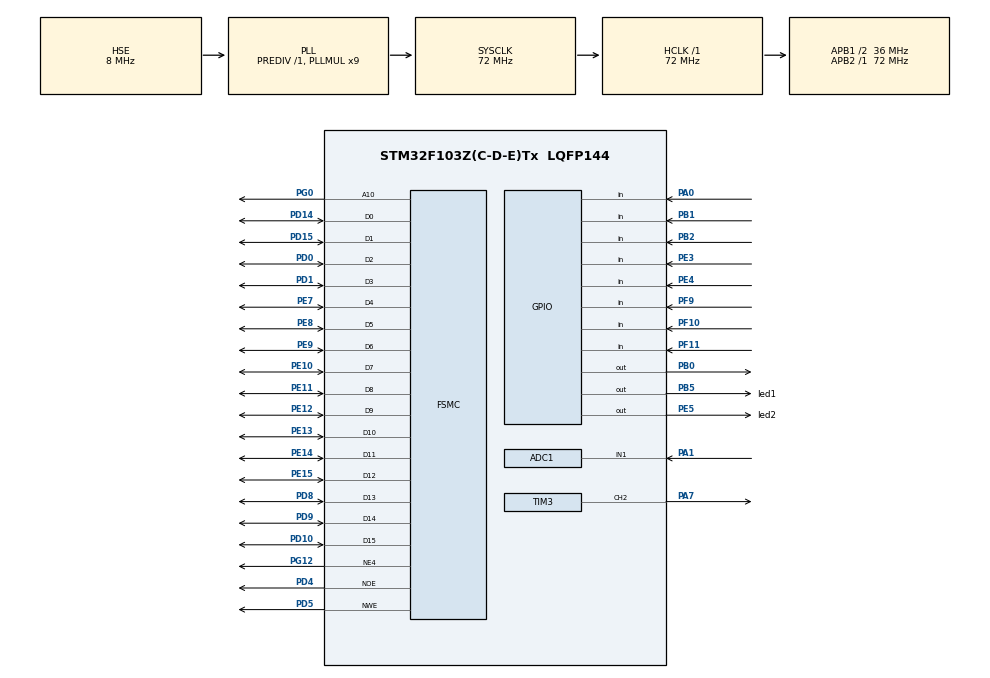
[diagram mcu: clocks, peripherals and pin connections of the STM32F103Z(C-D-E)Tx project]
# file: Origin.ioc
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ADC1.Channel-0\#ChannelRegularConversion=ADC_CHANNEL_1
ADC1.NbrOfConversion=1
ADC1.NbrOfConversionFlag=1
ADC1.Rank-0\#ChannelRegularConversion=1
ADC1.SamplingTime-0\#ChannelRegularConversion=ADC_SAMPLETIME_1CYCLE_5
ADC1.master=1
FSMC.AddressSetupTime1=6
FSMC.BusTurnAroundDuration1=0
FSMC.DataSetupTime1=26
FSMC.ExtendedAddressSetupTime1=3
FSMC.ExtendedBusTurnAroundDuration1=0
FSMC.ExtendedDataSetupTime1=6
FSMC.ExtendedMode1=FSMC_EXTENDED_MODE_ENABLE
Mcu.Family=STM32F1
Mcu.Name=STM32F103Z(C-D-E)Tx
Mcu.Package=LQFP144
NVIC.PriorityGroup=NVIC_PRIORITYGROUP_3
OSC_IN.Mode=HSE-External-Oscillator
OSC_IN.Signal=RCC_OSC_IN
OSC_OUT.Mode=HSE-External-Oscillator
OSC_OUT.Signal=RCC_OSC_OUT
PA0-WKUP.GPIO_PuPd=GPIO_PULLDOWN
PA0-WKUP.Signal=GPIO_Input
PA1.Signal=ADCx_IN1
PA13.Mode=Serial_Wire
PA13.Signal=SYS_JTMS-SWDIO
PA14.Mode=Serial_Wire
PA14.Signal=SYS_JTCK-SWCLK
PA7.Signal=S_TIM3_CH2
PB0.GPIO_PuPd=GPIO_PULLUP
PB0.GPIO_Speed=GPIO_SPEED_FREQ_HIGH
PB0.PinState=GPIO_PIN_SET
PB0.Signal=GPIO_Output
PB1.GPIO_PuPd=GPIO_NOPULL
PB1.Signal=GPIO_Input
PB2.Signal=GPIO_Input
PB5.GPIO_Label=led1
PB5.GPIO_ModeDefaultOutputPP=GPIO_MODE_OUTPUT_PP
PB5.GPIO_PuPd=GPIO_PULLDOWN
PB5.GPIO_Speed=GPIO_SPEED_FREQ_HIGH
PB5.PinState=GPIO_PIN_RESET
PB5.Signal=GPIO_Output
PD0.Signal=FSMC_D2_DA2
PD1.Signal=FSMC_D3_DA3
PD10.Signal=FSMC_D15_DA15
PD14.Signal=FSMC_D0_DA0
PD15.Signal=FSMC_D1_DA1
PD4.Signal=FSMC_NOE
PD5.Signal=FSMC_NWE
PD8.Signal=FSMC_D13_DA13
PD9.Signal=FSMC_D14_DA14
PE10.Signal=FSMC_D7_DA7
PE11.Signal=FSMC_D8_DA8
PE12.Signal=FSMC_D9_DA9
PE13.Signal=FSMC_D10_DA10
PE14.Signal=FSMC_D11_DA11
PE15.Signal=FSMC_D12_DA12
PE3.GPIO_Mode=GPIO_MODE_INPUT
PE3.GPIO_PuPd=GPIO_PULLUP
PE3.Signal=GPIO_Input
PE4.GPIO_PuPd=GPIO_PULLUP
PE4.Signal=GPIO_Input
PE5.GPIO_Label=led2
PE5.GPIO_PuPd=GPIO_PULLDOWN
PE5.GPIO_Speed=GPIO_SPEED_FREQ_HIGH
PE5.PinState=GPIO_PIN_RESET
PE5.Signal=GPIO_Output
PE7.Signal=FSMC_D4_DA4
PE8.Signal=FSMC_D5_DA5
PE9.Signal=FSMC_D6_DA6
PF10.Signal=GPIO_Input
PF11.Signal=GPIO_Input
PF9.Signal=GPIO_Input
PG0.Signal=FSMC_A10
PG12.Mode=NorPsramChipSelect4_1
PG12.Signal=FSMC_NE4
ProjectManager.HeapSize=0x200
ProjectManager.StackSize=0x400
ProjectManager.TargetToolchain=STM32CubeIDE
RCC.ADCPresc=RCC_ADCPCLK2_DIV6
RCC.AHBFreq_Value=72000000
RCC.APB1CLKDivider=RCC_HCLK_DIV2
RCC.APB1Freq_Value=36000000
RCC.APB1TimFreq_Value=72000000
RCC.APB2Freq_Value=72000000
RCC.APB2TimFreq_Value=72000000
RCC.HCLKFreq_Value=72000000
RCC.PLLMUL=RCC_PLL_MUL9
RCC.PLLSourceVirtual=RCC_PLLSOURCE_HSE
RCC.SYSCLKFreq_VALUE=72000000
RCC.SYSCLKSource=RCC_SYSCLKSOURCE_PLLCLK
RCC.USBFreq_Value=72000000
SH.ADCx_IN1.0=ADC1_IN1,IN1
SH.FSMC_A10.0=FSMC_A10,A10_1
SH.FSMC_D0_DA0.0=FSMC_D0,16b-d1
SH.FSMC_D10_DA10.0=FSMC_D10,16b-d1
SH.FSMC_D11_DA11.0=FSMC_D11,16b-d1
SH.FSMC_D12_DA12.0=FSMC_D12,16b-d1
SH.FSMC_D13_DA13.0=FSMC_D13,16b-d1
SH.FSMC_D14_DA14.0=FSMC_D14,16b-d1
SH.FSMC_D15_DA15.0=FSMC_D15,16b-d1
SH.FSMC_D1_DA1.0=FSMC_D1,16b-d1
SH.FSMC_D2_DA2.0=FSMC_D2,16b-d1
SH.FSMC_D3_DA3.0=FSMC_D3,16b-d1
SH.FSMC_D4_DA4.0=FSMC_D4,16b-d1
SH.FSMC_D5_DA5.0=FSMC_D5,16b-d1
SH.FSMC_D6_DA6.0=FSMC_D6,16b-d1
SH.FSMC_D7_DA7.0=FSMC_D7,16b-d1
SH.FSMC_D8_DA8.0=FSMC_D8,16b-d1
SH.FSMC_D9_DA9.0=FSMC_D9,16b-d1
SH.FSMC_NOE.0=FSMC_NOE,Lcd1
SH.FSMC_NWE.0=FSMC_NWE,Lcd1
SH.S_TIM3_CH2.0=TIM3_CH2,PWM Generation2 CH2
TIM3.Channel-PWM\ Generation2\ CH2=TIM_CHANNEL_2
TIM3.Period=1000-1
TIM3.Prescaler=72-1
VP_TIM3_VS_ClockSourceINT.Mode=Internal
board=custom

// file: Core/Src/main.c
/* USER CODE BEGIN Header */
/**
  ******************************************************************************
  * @file           : main.c
  * @brief          : Main program body
  ******************************************************************************
  * @attention
  *
  * <h2><center>&copy; Copyright (c) 2020 STMicroelectronics.
  * All rights reserved.</center></h2>
  *
  * This software component is licensed by ST under BSD 3-Clause license,
  * the "License"; You may not use this file except in compliance with the
  * License. You may obtain a copy of the License at:
  *                        opensource.org/licenses/BSD-3-Clause
  *
  ******************************************************************************
  */
/* USER CODE END Header */
#include "main.h"

/* USER CODE BEGIN Includes */

//#include "sys.h"
//#include "delay.h"
#include "lcd.h"
#include "adc.h"
#include "string.h"

/* USER CODE END Includes */

ADC_HandleTypeDef hadc1;

TIM_HandleTypeDef htim3;

SRAM_HandleTypeDef hsram1;

void SystemClock_Config(void);
static void MX_GPIO_Init(void);
static void MX_TIM3_Init(void);
static void MX_FSMC_Init(void);
static void MX_ADC1_Init(void);

/* USER CODE BEGIN 0 */
uint8_t KEY_Scan(uint8_t mode);

/* USER CODE END 0 */

int main(void)
{

  /* MCU Configuration--------------------------------------------------------*/

  /* Reset of all peripherals, Initializes the Flash interface and the Systick. */
  HAL_Init();

  /* Configure the system clock */
  SystemClock_Config();

  /* Initialize all configured peripherals */
  MX_GPIO_Init();
  MX_TIM3_Init();
  MX_FSMC_Init();
  MX_ADC1_Init();
  /* USER CODE BEGIN 2 */

  HAL_Delay(1);

	LCD_Init();
	POINT_COLOR=RED;

  HAL_TIM_PWM_Start(&htim3,TIM_CHANNEL_2);
  uint16_t dutyCycle=500;
  uint16_t pwmmax=900;
  uint16_t pwmmin=100;
  __HAL_TIM_SET_COMPARE(&htim3,TIM_CHANNEL_2,dutyCycle);

  uint16_t prs=72-1;
  uint16_t freq=50;
  uint16_t freqmax=100;
  uint16_t freqmin=1;

	u16 adcx;
	float temp;

	  //参数�?????????????
	  u8 key0p[5];
	  u8 key0f[5];
	  u8 fir=0;
	 //选项参数
	  u8 p=1;
	  u8 f=0;
	  HAL_GPIO_WritePin(led1_GPIO_Port, led1_Pin, GPIO_PIN_SET);
	  HAL_GPIO_WritePin(led2_GPIO_Port, led2_Pin, GPIO_PIN_SET);
  /* USER CODE END 2 */
	  POINT_COLOR=BLACK;
	  	LCD_ShowString(30,350,50,32,32,"Vol:");
	  	LCD_ShowString(160,350,200,32,32,"mV");

  /* Infinite loop */
  while (1)
  {
	 	  if (fir==0){
	 	  	  	itoa(dutyCycle/10, key0p, 10);
	 	  	  	strcat(key0p,"%");
	 	  	  	itoa(freq, key0f, 10);
	 	  	  	strcat(key0f,"KMz ");
	 	  	 	POINT_COLOR=RED;
	 	  	 	LCD_ShowString(30,140,200,32,32,"PWM");
	 	  	 	POINT_COLOR=BLACK;
	 	  	 	LCD_ShowString(100,140,200,32,32,"FREQ");

	 	  	  	POINT_COLOR=BLACK;
	 	  		LCD_ShowString(30,40,210,24,24,"Present By ZXD");
	 	   		LCD_ShowString(30,100,260,24,24,"Press key_up to switch");
	 	   		LCD_ShowString(200,270,200,32,32,key0p);
	 	   		LCD_ShowString(30,270,200,32,32,"DutyCycle:");
	 	   		LCD_ShowString(150,310,200,32,32,key0f);
	 	   		LCD_ShowString(30,310,200,32,32,"Freq:");
	 	   		fir=1;
	 	  }

	 	   		//按键扫描
	 	  switch(KEY_Scan(1)){

	 	  case 1:

	 	  	  break;
	 	  case 2:

	 	  	  break;
	 	  case 3:
	 	  	HAL_Delay(100);
	 	  	if (f==1){
	 	  		  p=1;
	 	  		  f=0;
	 	  		 	POINT_COLOR=RED;
	 	  		 	LCD_ShowString(30,140,200,32,32,"PWM");
	 	  		  	POINT_COLOR=BLACK;
	 	  		 	LCD_ShowString(100,140,200,32,32,"FREQ");
	 	  	  }
	 	  	  else if(p==1)
	 	  	  {
	 	  		  p=0;
	 	  		  f=1;
	 	  	   		POINT_COLOR=BLACK;
	 	  	   		LCD_ShowString(30,140,200,32,32,"PWM");
	 	  	   		POINT_COLOR=RED;
	 	  	   		LCD_ShowString(100,140,200,32,32,"FREQ");
	 	  	   		POINT_COLOR=BLACK;
	 	  	  }
	 	  	  break;
	 	  case 0:
	 	  	  break;
	 	  }

	 	  //控制状态灯
	 	  /*if(PWM_freq==0){HAL_GPIO_WritePin(led1_GPIO_Port, led1_Pin, GPIO_PIN_RESET);}
	 	  else HAL_GPIO_WritePin(led1_GPIO_Port, led1_Pin, GPIO_PIN_SET);
	 	  if(up_down==0){HAL_GPIO_WritePin(led2_GPIO_Port, led2_Pin, GPIO_PIN_RESET);}
	 	  else HAL_GPIO_WritePin(led2_GPIO_Port, led2_Pin, GPIO_PIN_SET);*/

	 	  //控制pwm和freq/vol
	 	  if(p==1&&(KEY_Scan(1)==2||KEY_Scan(1)==1))
	 	  {

	 	  	if(KEY_Scan(1)==2)
	 	  	  {
	 	  		dutyCycle+=50;
	 	  	  }
	 	  	else if(KEY_Scan(1)==1)
	 	  	{
	 	  		dutyCycle+=100;
	 	  	}
	 	  	else{

	 	  	}
	 	  	if(dutyCycle>pwmmax){dutyCycle=100;}
	 	  	else if(dutyCycle<pwmmin){dutyCycle=900;}
	 	  	else{}
	 	  	 __HAL_TIM_SET_COMPARE(&htim3,TIM_CHANNEL_2,dutyCycle);
	 	  	  	itoa(dutyCycle/10, key0p, 10);
	 	  	  	strcat(key0p,"%");
	 	  	LCD_ShowString(200,270,200,32,32,key0p);
	 	  	LCD_ShowString(30,270,200,32,32,"DutyCycle:");

	 	  }

	 	  else if (f==1&&(KEY_Scan(1)==2||KEY_Scan(1)==1))
	 	  {
	 	  	  if(KEY_Scan(1)==1)
	 	  {
	 	  		  freq=freq+10;
	 	  }
	 	  	  else if(KEY_Scan(1)==2)
	 	  	  {
	 	  		  freq=freq+1;
	 	  	  }
	 	  	  else{}
	 	  		if(freq>freqmax){freq=freq-100;}
	 	  		else if(freq<freqmin){freq=1;}
	 	  		else{}
	 	  	  prs=72000000/(1000*freq*1000);
	 	  	 __HAL_TIM_SET_PRESCALER(&htim3,prs);
	 	  	  	itoa(freq, key0f, 10);
	 	  	  	strcat(key0f,"KMz  ");
	 	  	LCD_ShowString(150,310,200,32,32,key0f);
	 	  	LCD_ShowString(30,310,200,32,32,"Freq:");
	 	  }

	 	  else
	 	  {
	 	 	  	HAL_ADC_Start(&hadc1);
	 	 	  	HAL_ADC_PollForConversion(&hadc1, 10);
	 	 	  	adcx = HAL_ADC_GetValue(&hadc1);
	 	 	  	temp=(float)adcx*(3.3/4096);			//得到ADC电压值
	 	 	  	adcx=temp;
	 	 	  	LCD_ShowxNum(94,350,temp,1,32,0);     	//显示电压值整数部分
	 	 	  	temp-=adcx;
	 	 	  	temp*=1000;
	 	 	  	LCD_ShowxNum(110,350,temp,3,32,0x80); 	//显示电压值的小数部分
	 	 	  	HAL_Delay(20);
	 	  }

  }
  /* USER CODE END 3 */
}

void SystemClock_Config(void)
{
  RCC_OscInitTypeDef RCC_OscInitStruct = {0};
  RCC_ClkInitTypeDef RCC_ClkInitStruct = {0};
  RCC_PeriphCLKInitTypeDef PeriphClkInit = {0};

  /** Initializes the RCC Oscillators according to the specified parameters
  * in the RCC_OscInitTypeDef structure.
  */
  RCC_OscInitStruct.OscillatorType = RCC_OSCILLATORTYPE_HSE;
  RCC_OscInitStruct.HSEState = RCC_HSE_ON;
  RCC_OscInitStruct.HSEPredivValue = RCC_HSE_PREDIV_DIV1;
  RCC_OscInitStruct.HSIState = RCC_HSI_ON;
  RCC_OscInitStruct.PLL.PLLState = RCC_PLL_ON;
  RCC_OscInitStruct.PLL.PLLSource = RCC_PLLSOURCE_HSE;
  RCC_OscInitStruct.PLL.PLLMUL = RCC_PLL_MUL9;
  if (HAL_RCC_OscConfig(&RCC_OscInitStruct) != HAL_OK)
  {
    Error_Handler();
  }
  /** Initializes the CPU, AHB and APB buses clocks
  */
  RCC_ClkInitStruct.ClockType = RCC_CLOCKTYPE_HCLK|RCC_CLOCKTYPE_SYSCLK
                              |RCC_CLOCKTYPE_PCLK1|RCC_CLOCKTYPE_PCLK2;
  RCC_ClkInitStruct.SYSCLKSource = RCC_SYSCLKSOURCE_PLLCLK;
  RCC_ClkInitStruct.AHBCLKDivider = RCC_SYSCLK_DIV1;
  RCC_ClkInitStruct.APB1CLKDivider = RCC_HCLK_DIV2;
  RCC_ClkInitStruct.APB2CLKDivider = RCC_HCLK_DIV1;

  if (HAL_RCC_ClockConfig(&RCC_ClkInitStruct, FLASH_LATENCY_2) != HAL_OK)
  {
    Error_Handler();
  }
  PeriphClkInit.PeriphClockSelection = RCC_PERIPHCLK_ADC;
  PeriphClkInit.AdcClockSelection = RCC_ADCPCLK2_DIV6;
  if (HAL_RCCEx_PeriphCLKConfig(&PeriphClkInit) != HAL_OK)
  {
    Error_Handler();
  }
}

static void MX_ADC1_Init(void)
{

  ADC_ChannelConfTypeDef sConfig = {0};

  /** Common config
  */
  hadc1.Instance = ADC1;
  hadc1.Init.ScanConvMode = ADC_SCAN_DISABLE;
  hadc1.Init.ContinuousConvMode = DISABLE;
  hadc1.Init.DiscontinuousConvMode = DISABLE;
  hadc1.Init.ExternalTrigConv = ADC_SOFTWARE_START;
  hadc1.Init.DataAlign = ADC_DATAALIGN_RIGHT;
  hadc1.Init.NbrOfConversion = 1;
  if (HAL_ADC_Init(&hadc1) != HAL_OK)
  {
    Error_Handler();
  }
  /** Configure Regular Channel
  */
  sConfig.Channel = ADC_CHANNEL_1;
  sConfig.Rank = ADC_REGULAR_RANK_1;
  sConfig.SamplingTime = ADC_SAMPLETIME_1CYCLE_5;
  if (HAL_ADC_ConfigChannel(&hadc1, &sConfig) != HAL_OK)
  {
    Error_Handler();
  }

}

static void MX_TIM3_Init(void)
{

  TIM_ClockConfigTypeDef sClockSourceConfig = {0};
  TIM_MasterConfigTypeDef sMasterConfig = {0};
  TIM_OC_InitTypeDef sConfigOC = {0};

  htim3.Instance = TIM3;
  htim3.Init.Prescaler = 72-1;
  htim3.Init.CounterMode = TIM_COUNTERMODE_UP;
  htim3.Init.Period = 1000-1;
  htim3.Init.ClockDivision = TIM_CLOCKDIVISION_DIV1;
  htim3.Init.AutoReloadPreload = TIM_AUTORELOAD_PRELOAD_DISABLE;
  if (HAL_TIM_Base_Init(&htim3) != HAL_OK)
  {
    Error_Handler();
  }
  sClockSourceConfig.ClockSource = TIM_CLOCKSOURCE_INTERNAL;
  if (HAL_TIM_ConfigClockSource(&htim3, &sClockSourceConfig) != HAL_OK)
  {
    Error_Handler();
  }
  if (HAL_TIM_PWM_Init(&htim3) != HAL_OK)
  {
    Error_Handler();
  }
  sMasterConfig.MasterOutputTrigger = TIM_TRGO_RESET;
  sMasterConfig.MasterSlaveMode = TIM_MASTERSLAVEMODE_DISABLE;
  if (HAL_TIMEx_MasterConfigSynchronization(&htim3, &sMasterConfig) != HAL_OK)
  {
    Error_Handler();
  }
  sConfigOC.OCMode = TIM_OCMODE_PWM1;
  sConfigOC.Pulse = 0;
  sConfigOC.OCPolarity = TIM_OCPOLARITY_HIGH;
  sConfigOC.OCFastMode = TIM_OCFAST_DISABLE;
  if (HAL_TIM_PWM_ConfigChannel(&htim3, &sConfigOC, TIM_CHANNEL_2) != HAL_OK)
  {
    Error_Handler();
  }
  HAL_TIM_MspPostInit(&htim3);

}

static void MX_GPIO_Init(void)
{
  GPIO_InitTypeDef GPIO_InitStruct = {0};

  /* GPIO Ports Clock Enable */
  __HAL_RCC_GPIOE_CLK_ENABLE();
  __HAL_RCC_GPIOF_CLK_ENABLE();
  __HAL_RCC_GPIOA_CLK_ENABLE();
  __HAL_RCC_GPIOB_CLK_ENABLE();
  __HAL_RCC_GPIOG_CLK_ENABLE();
  __HAL_RCC_GPIOD_CLK_ENABLE();

  /*Configure GPIO pin Output Level */
  HAL_GPIO_WritePin(led2_GPIO_Port, led2_Pin, GPIO_PIN_RESET);

  /*Configure GPIO pin Output Level */
  HAL_GPIO_WritePin(GPIOB, GPIO_PIN_0, GPIO_PIN_SET);

  /*Configure GPIO pin Output Level */
  HAL_GPIO_WritePin(led1_GPIO_Port, led1_Pin, GPIO_PIN_RESET);

  /*Configure GPIO pins : PE3 PE4 */
  GPIO_InitStruct.Pin = GPIO_PIN_3|GPIO_PIN_4;
  GPIO_InitStruct.Mode = GPIO_MODE_INPUT;
  GPIO_InitStruct.Pull = GPIO_PULLUP;
  HAL_GPIO_Init(GPIOE, &GPIO_InitStruct);

  /*Configure GPIO pin : led2_Pin */
  GPIO_InitStruct.Pin = led2_Pin;
  GPIO_InitStruct.Mode = GPIO_MODE_OUTPUT_PP;
  GPIO_InitStruct.Pull = GPIO_PULLDOWN;
  GPIO_InitStruct.Speed = GPIO_SPEED_FREQ_HIGH;
  HAL_GPIO_Init(led2_GPIO_Port, &GPIO_InitStruct);

  /*Configure GPIO pins : PF9 PF10 PF11 */
  GPIO_InitStruct.Pin = GPIO_PIN_9|GPIO_PIN_10|GPIO_PIN_11;
  GPIO_InitStruct.Mode = GPIO_MODE_INPUT;
  GPIO_InitStruct.Pull = GPIO_NOPULL;
  HAL_GPIO_Init(GPIOF, &GPIO_InitStruct);

  /*Configure GPIO pin : PA0 */
  GPIO_InitStruct.Pin = GPIO_PIN_0;
  GPIO_InitStruct.Mode = GPIO_MODE_INPUT;
  GPIO_InitStruct.Pull = GPIO_PULLDOWN;
  HAL_GPIO_Init(GPIOA, &GPIO_InitStruct);

  /*Configure GPIO pin : PB0 */
  GPIO_InitStruct.Pin = GPIO_PIN_0;
  GPIO_InitStruct.Mode = GPIO_MODE_OUTPUT_PP;
  GPIO_InitStruct.Pull = GPIO_PULLUP;
  GPIO_InitStruct.Speed = GPIO_SPEED_FREQ_HIGH;
  HAL_GPIO_Init(GPIOB, &GPIO_InitStruct);

  /*Configure GPIO pins : PB1 PB2 */
  GPIO_InitStruct.Pin = GPIO_PIN_1|GPIO_PIN_2;
  GPIO_InitStruct.Mode = GPIO_MODE_INPUT;
  GPIO_InitStruct.Pull = GPIO_NOPULL;
  HAL_GPIO_Init(GPIOB, &GPIO_InitStruct);

  /*Configure GPIO pin : led1_Pin */
  GPIO_InitStruct.Pin = led1_Pin;
  GPIO_InitStruct.Mode = GPIO_MODE_OUTPUT_PP;
  GPIO_InitStruct.Pull = GPIO_PULLDOWN;
  GPIO_InitStruct.Speed = GPIO_SPEED_FREQ_HIGH;
  HAL_GPIO_Init(led1_GPIO_Port, &GPIO_InitStruct);

}

/* FSMC initialization function */
static void MX_FSMC_Init(void)
{

  FSMC_NORSRAM_TimingTypeDef Timing = {0};
  FSMC_NORSRAM_TimingTypeDef ExtTiming = {0};

  /** Perform the SRAM1 memory initialization sequence
  */
  hsram1.Instance = FSMC_NORSRAM_DEVICE;
  hsram1.Extended = FSMC_NORSRAM_EXTENDED_DEVICE;
  /* hsram1.Init */
  hsram1.Init.NSBank = FSMC_NORSRAM_BANK4;
  hsram1.Init.DataAddressMux = FSMC_DATA_ADDRESS_MUX_DISABLE;
  hsram1.Init.MemoryType = FSMC_MEMORY_TYPE_SRAM;
  hsram1.Init.MemoryDataWidth = FSMC_NORSRAM_MEM_BUS_WIDTH_16;
  hsram1.Init.BurstAccessMode = FSMC_BURST_ACCESS_MODE_DISABLE;
  hsram1.Init.WaitSignalPolarity = FSMC_WAIT_SIGNAL_POLARITY_LOW;
  hsram1.Init.WrapMode = FSMC_WRAP_MODE_DISABLE;
  hsram1.Init.WaitSignalActive = FSMC_WAIT_TIMING_BEFORE_WS;
  hsram1.Init.WriteOperation = FSMC_WRITE_OPERATION_ENABLE;
  hsram1.Init.WaitSignal = FSMC_WAIT_SIGNAL_DISABLE;
  hsram1.Init.ExtendedMode = FSMC_EXTENDED_MODE_ENABLE;
  hsram1.Init.AsynchronousWait = FSMC_ASYNCHRONOUS_WAIT_DISABLE;
  hsram1.Init.WriteBurst = FSMC_WRITE_BURST_DISABLE;
  /* Timing */
  Timing.AddressSetupTime = 6;
  Timing.AddressHoldTime = 15;
  Timing.DataSetupTime = 26;
  Timing.BusTurnAroundDuration = 0;
  Timing.CLKDivision = 16;
  Timing.DataLatency = 17;
  Timing.AccessMode = FSMC_ACCESS_MODE_A;
  /* ExtTiming */
  ExtTiming.AddressSetupTime = 3;
  ExtTiming.AddressHoldTime = 15;
  ExtTiming.DataSetupTime = 6;
  ExtTiming.BusTurnAroundDuration = 0;
  ExtTiming.CLKDivision = 16;
  ExtTiming.DataLatency = 17;
  ExtTiming.AccessMode = FSMC_ACCESS_MODE_A;

  if (HAL_SRAM_Init(&hsram1, &Timing, &ExtTiming) != HAL_OK)
  {
    Error_Handler( );
  }

  /** Disconnect NADV
  */

  __HAL_AFIO_FSMCNADV_DISCONNECTED();

}

/* USER CODE BEGIN 4 */

u8 KEY_Scan(uint8_t mode)
{
    static u8 key_up=1;     //按键松开标志
    if(mode==1)key_up=1;    //支持连按
    if(key_up&&(KEY0==0||KEY1==0||WK_UP==1))
    {
        HAL_Delay(10);
        key_up=0;
        if(KEY0==0)       return KEY0_PRES;
        else if(KEY1==0)  return KEY1_PRES;
        else if(WK_UP==1) return WKUP_PRES;
    }else if(KEY0==1&&KEY1==1&&WK_UP==0)key_up=1;
    return 0;   //无按键按�???????
}

/* USER CODE END 4 */

void Error_Handler(void)
{
}

/************************ (C) COPYRIGHT STMicroelectronics *****END OF FILE****/
